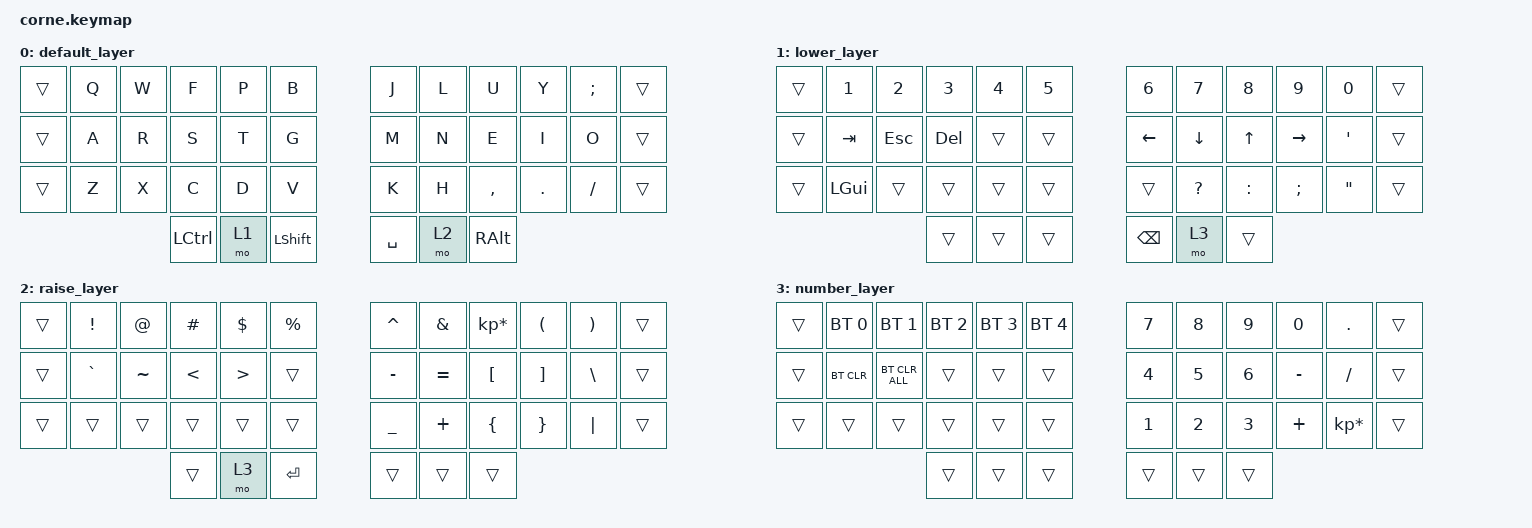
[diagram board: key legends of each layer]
/*
 * Copyright (c) 2020 The ZMK Contributors
 *
 * SPDX-License-Identifier: MIT
 */

#include <behaviors.dtsi>
#include <dt-bindings/zmk/keys.h>
#include <dt-bindings/zmk/bt.h>

                //                     ┏━━━━━━━━━┯━━━━━━━━━┯━━━━━━━━━┯━━━━━━━━━┯━━━━━━━━━┓     ┏━━━━━━━━━┯━━━━━━━━━┯━━━━━━━━━┯━━━━━━━━━┯━━━━━━━━━┓
                //                0    ┃  1      │  2      │  3      │  4      │  5      ┃     ┃  6      │  7      │  8      │  9      │  10     ┃    11
                //                     ┃         │         │         │         │         ┃     ┃         │         │         │         │         ┃    
                //                     ┠─────────┼─────────┼─────────┼─────────┼─────────┨     ┠─────────┼─────────┼─────────┼─────────┼─────────┨    
                //               12    ┃  13     │  14     │  15     │  16     │  17     ┃     ┃  18     │  19     │  20     │  21     │  22     ┃    23
                //                     ┃         │         │         │         │         ┃     ┃         │         │         │         │         ┃    
                //                     ┠─────────┼─────────┼─────────┼─────────┼─────────┨     ┠─────────┼─────────┼─────────┼─────────┼─────────┨    
                //               25    ┃  26     │  27     │  28     │  29     │  30     ┃     ┃  31     │  32     │  33     │  34     │  35     ┃    36
                //                     ┃         │         │         │         │         ┃     ┃         │         │         │         │         ┃    
                //                     ┠─────────┼─────────┼─────────┼─────────┼─────────┨     ┠─────────┼─────────┼─────────┼─────────┼─────────┨
                //                                         ┃ 37      │ 38      │ 39      ┃     ┃ 40      │ 41      │ 42      ┃          
                //                                         ┃         │         │         ┃     ┃         │         │         ┃          
                //                                         ┗━━━━━━━━━┷━━━━━━━━━┷━━━━━━━━━┛     ┗━━━━━━━━━┷━━━━━━━━━┷━━━━━━━━━┛

/ {
        keymap {
                compatible = "zmk,keymap";

                default_layer {

                        bindings = <
                                        // ┏━━━━━━━━━┯━━━━━━━━━┯━━━━━━━━━┯━━━━━━━━━┯━━━━━━━━━┓     ┏━━━━━━━━━┯━━━━━━━━━┯━━━━━━━━━┯━━━━━━━━━┯━━━━━━━━━┓
                                        // ┃  Q      │  W      │  F      │  P      │  B      ┃     ┃  J      │  L      │  U      │  Y      │  ;      ┃
                                &trans       &kp Q     &kp W     &kp F     &kp P     &kp B           &kp J     &kp L      &kp U    &kp Y     &kp SEMI  &trans
                                        // ┠─────────┼─────────┼─────────┼─────────┼─────────┨     ┠─────────┼─────────┼─────────┼─────────┼─────────┨
                                        // ┃  A      │  R      │  S      │  T      │  G      ┃     ┃  M      │  N      │  E      │  I      │  O      ┃
                                &trans       &kp A     &kp R     &kp S     &kp T     &kp G           &kp M     &kp N      &kp E    &kp I     &kp O     &trans
                                        // ┠─────────┼─────────┼─────────┼─────────┼─────────┨     ┠─────────┼─────────┼─────────┼─────────┼─────────┨
                                        // ┃  Z      │  X      │  C      │  D      │  V      ┃     ┃  K      │  H      │  ,      │  .      │  /      ┃
                                &trans       &kp Z     &kp X     &kp C     &kp D     &kp V           &kp K     &kp H     &kp COMMA &kp DOT   &kp FSLH  &trans
                                        // ┠─────────┼─────────┼─────────┼─────────┼─────────┨     ┠─────────┼─────────┼─────────┼─────────┼─────────┨
                                        //                     ┃ LCTRL   │ LWR     │ SHFT    ┃     ┃ SPC     │ RSE     │ RALT    ┃          
                                                                 &kp LCTRL &mo 1     &kp LSHFT       &kp SPACE &mo 2     &kp RALT
                                        //                     ┗━━━━━━━━━┷━━━━━━━━━┷━━━━━━━━━┛     ┗━━━━━━━━━┷━━━━━━━━━┷━━━━━━━━━┛
                        >;
                };
                lower_layer {

                        bindings = <                        
                                        // ┏━━━━━━━━━━┯━━━━━━━━━━┯━━━━━━━━━━┯━━━━━━━━━━┯━━━━━━━━━━┓     ┏━━━━━━━━━━┯━━━━━━━━━━┯━━━━━━━━━━┯━━━━━━━━━━┯━━━━━━━━━━┓
                                        // ┃  1       │  2       │  3       │  4       │  5       ┃     ┃  6       │  7       │  8       │  9       │  0       ┃
                                &trans       &kp N1     &kp N2     &kp N3     &kp N4     &kp N5           &kp N6     &kp N7     &kp N8     &kp N9     &kp N0     &trans
                                        // ┠──────────┼──────────┼──────────┼──────────┼──────────┨     ┠──────────┼──────────┼──────────┼──────────┼──────────┨
                                        // ┃ TAB      │  ESC     │  DEL     │          │          ┃     ┃  LEFT    │  DOWN    │  UP      │  RIGHT   │  '       ┃
                                &trans       &kp TAB    &kp ESC    &kp DEL    &trans     &trans           &kp LEFT   &kp DOWN   &kp UP     &kp RIGHT  &kp SQT    &trans
                                        // ┠──────────┼──────────┼──────────┼──────────┼──────────┨     ┠──────────┼──────────┼──────────┼──────────┼──────────┨
                                        // ┃  GUI     │          │          │          │          ┃     ┃          │  ?       │  :       │  ;       │  "       ┃
                                &trans       &kp LGUI   &trans     &trans     &trans     &trans           &trans     &kp QMARK  &kp COLON  &kp SEMI   &kp DQT    &trans
                                        // ┠──────────┼──────────┼──────────┼──────────┼──────────┨     ┠──────────┼──────────┼──────────┼──────────┼──────────┨
                                        //                       ┃          │          │          ┃     ┃  BSPC    │  NUM     │          ┃          
                                                                   &trans     &trans     &trans           &kp BSPC   &mo 3      &trans
                                        // 
                        >;
                };

                raise_layer {
                        bindings = <                        
                                        // ┏━━━━━━━━━━━━━━━━━┯━━━━━━━━━━━━━━━━━┯━━━━━━━━━━━━━━━━━┯━━━━━━━━━━━━━━━━━┯━━━━━━━━━━━━━━━━━┓     ┏━━━━━━━━━━━━━━━━━┯━━━━━━━━━━━━━━━━━┯━━━━━━━━━━━━━━━━━┯━━━━━━━━━━━━━━━━━┯━━━━━━━━━━━━━━━━━┓
                                        // ┃  !              │  @              │  #              │  $              │  %              ┃     ┃  ^              │  &              │  *              │  (              │  )              ┃
                                &trans       &kp EXCL          &kp AT            &kp HASH          &kp DLLR          &kp PRCNT               &kp CARET         &kp AMPS          &kp KP_MULTIPLY   &kp LPAR          &kp RPAR          &trans
                                        // ┠─────────────────┼─────────────────┼─────────────────┼─────────────────┼─────────────────┨     ┠─────────────────┼─────────────────┼─────────────────┼─────────────────┼─────────────────┨
                                        // ┃  `              │  ~              │  <              │  >              │                 ┃     ┃  -              │ =               │ [               │  ]              │  \              ┃
                                &trans       &kp GRAVE         &kp TILDE         &kp LT            &kp GT            &trans                  &kp MINUS         &kp EQUAL         &kp LBKT          &kp RBKT          &kp BSLH          &trans
                                        // ┠─────────────────┼─────────────────┼─────────────────┼─────────────────┼─────────────────┨     ┠─────────────────┼─────────────────┼─────────────────┼─────────────────┼─────────────────┨
                                        // ┃                 │                 │                 │                 │                 ┃     ┃  _              │  +              │  {              │  }              │  |              ┃
                                &trans       &trans            &trans            &trans            &trans            &trans                  &kp UNDER         &kp PLUS          &kp LBRC          &kp RBRC          &kp PIPE          &trans
                                        // ┠─────────────────┼─────────────────┼─────────────────┼─────────────────┼─────────────────┨     ┠─────────────────┼─────────────────┼─────────────────┼─────────────────┼─────────────────┨
                                        //                                     ┃                 │  NUM            │  RETURN         ┃     ┃                 │                 │                 ┃          
                                                                                 &trans            &mo 3             &kp RET                 &trans            &trans            &trans
                                        // 
                        >;
                };

                number_layer {
                        bindings = <
                                        // ┏━━━━━━━━━━━━━━━━┯━━━━━━━━━━━━━━━━┯━━━━━━━━━━━━━━━━┯━━━━━━━━━━━━━━━━┯━━━━━━━━━━━━━━━━┓     ┏━━━━━━━━━━━━━━━━━┯━━━━━━━━━━━━━━━━━┯━━━━━━━━━━━━━━━━━┯━━━━━━━━━━━━━━━━━┯━━━━━━━━━━━━━━━━━┓
                                        // ┃  BT1           │  BT2           │  BT3           │  BT4           │  BT5           ┃     ┃  7              │  8              │  9              │  0              │  .              ┃
                                &trans       &bt BT_SEL 0      &bt BT_SEL 1     &bt BT_SEL 2     &bt BT_SEL 3     &bt BT_SEL 4          &kp N7            &kp N8            &kp N9            &kp N0            &kp DOT           &trans
                                        // ┠────────────────┼────────────────┼────────────────┼────────────────┼────────────────┨     ┠─────────────────┼─────────────────┼─────────────────┼─────────────────┼─────────────────┨
                                        // ┃  BT CLR        │  BT CLR ALL    │                │                │                ┃     ┃  4              │  5              │  6              │  -              │  /              ┃
                                &trans       &bt BT_CLR       &bt BT_CLR_ALL   &trans           &trans           &trans                 &kp N4            &kp N5            &kp N6            &kp MINUS         &kp FSLH          &trans
                                        // ┠────────────────┼────────────────┼────────────────┼────────────────┼────────────────┨     ┠─────────────────┼─────────────────┼─────────────────┼─────────────────┼─────────────────┨
                                        // ┃                │                │                │                │                ┃     ┃  1              │  2              │  3              │  +              │  *              ┃
                                &trans       &trans           &trans           &trans           &trans           &trans                 &kp N1            &kp N2            &kp N3            &kp PLUS          &kp KP_MULTIPLY   &trans
                                        // ┠────────────────┼────────────────┼────────────────┼────────────────┼────────────────┨     ┠─────────────────┼─────────────────┼─────────────────┼─────────────────┼─────────────────┨
                                        //                                   ┃                │                │                ┃     ┃                 │                 │                 ┃          
                                                                               &trans           &trans           &trans                 &trans            &trans            &trans
                                        //                                   ┗━━━━━━━━━━━━━━━━┷━━━━━━━━━━━━━━━━┷━━━━━━━━━━━━━━━━┛     ┗━━━━━━━━━━━━━━━━━┷━━━━━━━━━━━━━━━━━┷━━━━━━━━━━━━━━━━━┛
                        >;
                };
        };
};
